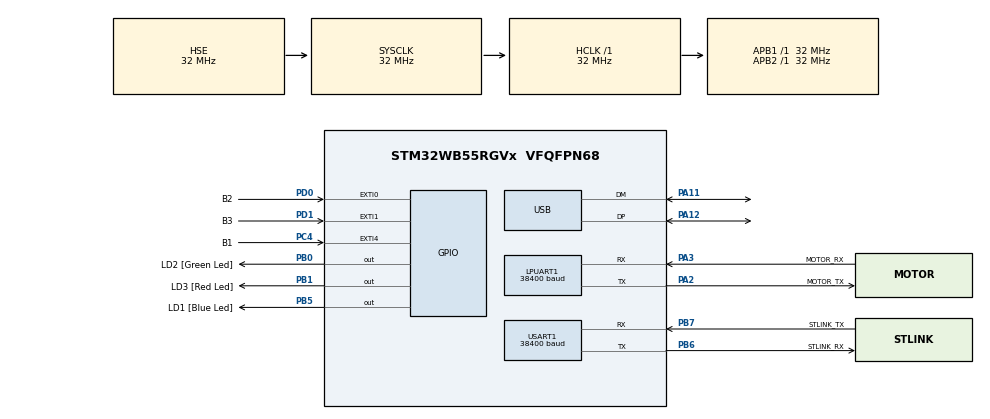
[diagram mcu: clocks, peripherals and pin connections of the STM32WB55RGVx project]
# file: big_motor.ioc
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LPUART1.BaudRate=38400
Mcu.Family=STM32WB
Mcu.Name=STM32WB55RGVx
Mcu.Package=VFQFPN68
NVIC.EXTI0_IRQn=true\:0\:0\:false\:false\:true\:true\:true\:true
NVIC.EXTI1_IRQn=true\:0\:0\:false\:false\:true\:true\:true\:true
NVIC.EXTI4_IRQn=true\:0\:0\:false\:false\:true\:true\:true\:true
NVIC.LPUART1_IRQn=true\:0\:0\:false\:false\:true\:true\:true\:true
NVIC.PriorityGroup=NVIC_PRIORITYGROUP_4
NVIC.USART1_IRQn=true\:0\:0\:false\:false\:true\:true\:true\:true
OSC_IN.Mode=HSE-External-Oscillator
OSC_IN.Signal=RCC_OSC_IN
OSC_OUT.Mode=HSE-External-Oscillator
OSC_OUT.Signal=RCC_OSC_OUT
PA11.Mode=Device
PA11.Signal=USB_DM
PA12.Mode=Device
PA12.Signal=USB_DP
PA13.GPIO_Label=JTMS
PA13.Mode=Trace_Asynchronous_SW
PA13.Signal=SYS_JTMS-SWDIO
PA14.GPIO_Label=JTCK
PA14.Mode=Trace_Asynchronous_SW
PA14.Signal=SYS_JTCK-SWCLK
PA2.GPIO_Label=MOTOR_TX
PA2.Mode=Asynchronous
PA2.Signal=LPUART1_TX
PA3.GPIO_Label=MOTOR_RX
PA3.Mode=Asynchronous
PA3.Signal=LPUART1_RX
PB0.GPIO_Label=LD2 [Green Led]
PB0.Signal=GPIO_Output
PB1.GPIO_Label=LD3 [Red Led]
PB1.Signal=GPIO_Output
PB3.GPIO_Label=JTDO
PB3.Mode=Trace_Asynchronous_SW
PB3.Signal=SYS_JTDO-SWO
PB5.GPIO_Label=LD1 [Blue Led]
PB5.Signal=GPIO_Output
PB6.GPIO_Label=STLINK_RX
PB6.GPIO_PuPd=GPIO_PULLUP
PB6.Mode=Asynchronous
PB6.Signal=USART1_TX
PB7.GPIO_Label=STLINK_TX
PB7.GPIO_PuPd=GPIO_PULLUP
PB7.Mode=Asynchronous
PB7.Signal=USART1_RX
PC13.Mode=SYS_WakeUp1
PC13.Signal=SYS_WKUP2
PC14-OSC32_IN.Mode=LSE-External-Oscillator
PC14-OSC32_IN.Signal=RCC_OSC32_IN
PC15-OSC32_OUT.Mode=LSE-External-Oscillator
PC15-OSC32_OUT.Signal=RCC_OSC32_OUT
PC4.GPIO_Label=B1
PC4.GPIO_PuPd=GPIO_PULLUP
PC4.Signal=GPXTI4
PD0.GPIO_Label=B2
PD0.GPIO_PuPd=GPIO_PULLUP
PD0.Signal=GPXTI0
PD1.GPIO_Label=B3
PD1.GPIO_PuPd=GPIO_PULLUP
PD1.Signal=GPXTI1
ProjectManager.HeapSize=0x200
ProjectManager.StackSize=0x400
ProjectManager.TargetToolchain=STM32CubeIDE
RCC.ADCFreq_Value=48000000
RCC.AHBFreq_Value=32000000
RCC.APB1Freq_Value=32000000
RCC.APB1TimFreq_Value=32000000
RCC.APB2Freq_Value=32000000
RCC.APB2TimFreq_Value=32000000
RCC.APB3Freq_Value=16000000
RCC.CortexFreq_Value=32000000
RCC.HCLKFreq_Value=32000000
RCC.HSE_VALUE=32000000
RCC.HSI48_VALUE=48000000
RCC.HSI_VALUE=16000000
RCC.LSE_Drive_Capability=RCC_LSEDRIVE_LOW
RCC.PLLN=32
RCC.PLLSAI1N=24
RCC.SMPSCLockSelectionVirtual=RCC_SMPSCLKSOURCE_HSI
RCC.SMPSCLockSelectionVirtualVirtual=RCC_SMPSCLKSOURCE_HSI
RCC.SMPSDivider=1
RCC.SYSCLKFreq_VALUE=32000000
RCC.SYSCLKSource=RCC_SYSCLKSOURCE_HSE
RCC.USBFreq_Value=48000000
RCC.VCOOutputFreq_Value=128000000
USART1.BaudRate=38400
USART1.VirtualMode-Asynchronous=VM_ASYNC
USART1.WordLength=WORDLENGTH_8B
VP_MEMORYMAP_VS_MEMORYMAP.Mode=CurAppReg
board=NUCLEO-WB55RG

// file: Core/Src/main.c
/* USER CODE BEGIN Header */
/**
  ******************************************************************************
  * @file           : main.c
  * @brief          : Main program body
  ******************************************************************************
  * @attention
  *
  * Copyright (c) 2024 STMicroelectronics.
  * All rights reserved.
  *
  * This software is licensed under terms that can be found in the LICENSE file
  * in the root directory of this software component.
  * If no LICENSE file comes with this software, it is provided AS-IS.
  *
  ******************************************************************************
  */
/* USER CODE END Header */
#include "main.h"

/* USER CODE BEGIN Includes */
#include "communication_utilities.h"
#include "utilities.h"
/* USER CODE END Includes */

UART_HandleTypeDef hlpuart1;
UART_HandleTypeDef huart1;

PCD_HandleTypeDef hpcd_USB_FS;

/* USER CODE BEGIN PV */
uint32_t state;
uint32_t state_changed;
/* USER CODE END PV */

void SystemClock_Config(void);
void PeriphCommonClock_Config(void);
static void MX_GPIO_Init(void);
static void MX_LPUART1_UART_Init(void);
static void MX_USART1_UART_Init(void);
static void MX_USB_PCD_Init(void);

int main(void)
{

  /* MCU Configuration--------------------------------------------------------*/

  /* Reset of all peripherals, Initializes the Flash interface and the Systick. */
  HAL_Init();

  /* Configure the system clock */
  SystemClock_Config();

/* Configure the peripherals common clocks */
  PeriphCommonClock_Config();

  /* Initialize all configured peripherals */
  MX_GPIO_Init();
  MX_LPUART1_UART_Init();
  MX_USART1_UART_Init();
  MX_USB_PCD_Init();
  /* USER CODE BEGIN 2 */
  state = 0;
  state_changed = 0;

  Digital_Mode();
  HAL_Delay(100);
  Set_Clockwise_Direction();
  HAL_Delay(100);
  Coast();
  HAL_Delay(100);
  /* USER CODE END 2 */

  /* Infinite loop */
  /* USER CODE BEGIN WHILE */
  while (1)
  {
	  //uint8_t test[] = {'a'};
	 // HAL_UART_Transmit(&huart1, test, sizeof(test), 10);
	  if (state == 0){
		  if (state_changed == 1)
		  {
			  //uint16_t test = Verify_Test();
			  Set_Digital_Speed(400);
			  HAL_Delay(100);
			  Start_Motor();
			  HAL_Delay(100);
			  state_changed = 0;
		  }
		  Blue_On();
		  Green_Off();
		  Red_Off();
	  }
	  else if (state == 1){
		  if (state_changed == 1)
		  {
			  Coast();
			  state_changed = 0;
		  }
		  Blue_Off();
		  Green_On();
		  Red_Off();
	  }
	  else if (state == 2){
		  if (state_changed == 1)
		  {
			  uint16_t test = Verify_Current_Speed();
			  HAL_Delay(100);
			  state_changed = 0;
		  }

		  Blue_Off();
		  Green_Off();
		  Red_On();
	  }
	  else{
		  state = 0;
	  }
    /* USER CODE END WHILE */

  }
}

void SystemClock_Config(void)
{
  RCC_OscInitTypeDef RCC_OscInitStruct = {0};
  RCC_ClkInitTypeDef RCC_ClkInitStruct = {0};

  /** Macro to configure the PLL multiplication factor
  */
  __HAL_RCC_PLL_PLLM_CONFIG(RCC_PLLM_DIV1);

  /** Macro to configure the PLL clock source
  */
  __HAL_RCC_PLL_PLLSOURCE_CONFIG(RCC_PLLSOURCE_MSI);

  /** Configure LSE Drive Capability
  */
  HAL_PWR_EnableBkUpAccess();
  __HAL_RCC_LSEDRIVE_CONFIG(RCC_LSEDRIVE_LOW);

  /** Configure the main internal regulator output voltage
  */
  __HAL_PWR_VOLTAGESCALING_CONFIG(PWR_REGULATOR_VOLTAGE_SCALE1);

  /** Initializes the RCC Oscillators according to the specified parameters
  * in the RCC_OscInitTypeDef structure.
  */
  RCC_OscInitStruct.OscillatorType = RCC_OSCILLATORTYPE_HSI|RCC_OSCILLATORTYPE_HSE
                              |RCC_OSCILLATORTYPE_LSE|RCC_OSCILLATORTYPE_MSI;
  RCC_OscInitStruct.HSEState = RCC_HSE_ON;
  RCC_OscInitStruct.LSEState = RCC_LSE_ON;
  RCC_OscInitStruct.HSIState = RCC_HSI_ON;
  RCC_OscInitStruct.MSIState = RCC_MSI_ON;
  RCC_OscInitStruct.HSICalibrationValue = RCC_HSICALIBRATION_DEFAULT;
  RCC_OscInitStruct.MSICalibrationValue = RCC_MSICALIBRATION_DEFAULT;
  RCC_OscInitStruct.MSIClockRange = RCC_MSIRANGE_6;
  RCC_OscInitStruct.PLL.PLLState = RCC_PLL_NONE;
  if (HAL_RCC_OscConfig(&RCC_OscInitStruct) != HAL_OK)
  {
    Error_Handler();
  }

  /** Configure the SYSCLKSource, HCLK, PCLK1 and PCLK2 clocks dividers
  */
  RCC_ClkInitStruct.ClockType = RCC_CLOCKTYPE_HCLK4|RCC_CLOCKTYPE_HCLK2
                              |RCC_CLOCKTYPE_HCLK|RCC_CLOCKTYPE_SYSCLK
                              |RCC_CLOCKTYPE_PCLK1|RCC_CLOCKTYPE_PCLK2;
  RCC_ClkInitStruct.SYSCLKSource = RCC_SYSCLKSOURCE_HSE;
  RCC_ClkInitStruct.AHBCLKDivider = RCC_SYSCLK_DIV1;
  RCC_ClkInitStruct.APB1CLKDivider = RCC_HCLK_DIV1;
  RCC_ClkInitStruct.APB2CLKDivider = RCC_HCLK_DIV1;
  RCC_ClkInitStruct.AHBCLK2Divider = RCC_SYSCLK_DIV1;
  RCC_ClkInitStruct.AHBCLK4Divider = RCC_SYSCLK_DIV1;

  if (HAL_RCC_ClockConfig(&RCC_ClkInitStruct, FLASH_LATENCY_1) != HAL_OK)
  {
    Error_Handler();
  }

  /** Enable MSI Auto calibration
  */
  HAL_RCCEx_EnableMSIPLLMode();
}

void PeriphCommonClock_Config(void)
{
  RCC_PeriphCLKInitTypeDef PeriphClkInitStruct = {0};

  /** Initializes the peripherals clock
  */
  PeriphClkInitStruct.PeriphClockSelection = RCC_PERIPHCLK_SMPS;
  PeriphClkInitStruct.SmpsClockSelection = RCC_SMPSCLKSOURCE_HSI;
  PeriphClkInitStruct.SmpsDivSelection = RCC_SMPSCLKDIV_RANGE0;

  if (HAL_RCCEx_PeriphCLKConfig(&PeriphClkInitStruct) != HAL_OK)
  {
    Error_Handler();
  }
}

static void MX_LPUART1_UART_Init(void)
{

  hlpuart1.Instance = LPUART1;
  hlpuart1.Init.BaudRate = 38400;
  hlpuart1.Init.WordLength = UART_WORDLENGTH_8B;
  hlpuart1.Init.StopBits = UART_STOPBITS_1;
  hlpuart1.Init.Parity = UART_PARITY_NONE;
  hlpuart1.Init.Mode = UART_MODE_TX_RX;
  hlpuart1.Init.HwFlowCtl = UART_HWCONTROL_NONE;
  hlpuart1.Init.OneBitSampling = UART_ONE_BIT_SAMPLE_DISABLE;
  hlpuart1.Init.ClockPrescaler = UART_PRESCALER_DIV1;
  hlpuart1.AdvancedInit.AdvFeatureInit = UART_ADVFEATURE_NO_INIT;
  hlpuart1.FifoMode = UART_FIFOMODE_DISABLE;
  if (HAL_UART_Init(&hlpuart1) != HAL_OK)
  {
    Error_Handler();
  }
  if (HAL_UARTEx_SetTxFifoThreshold(&hlpuart1, UART_TXFIFO_THRESHOLD_1_8) != HAL_OK)
  {
    Error_Handler();
  }
  if (HAL_UARTEx_SetRxFifoThreshold(&hlpuart1, UART_RXFIFO_THRESHOLD_1_8) != HAL_OK)
  {
    Error_Handler();
  }
  if (HAL_UARTEx_DisableFifoMode(&hlpuart1) != HAL_OK)
  {
    Error_Handler();
  }

}

static void MX_USART1_UART_Init(void)
{

  huart1.Instance = USART1;
  huart1.Init.BaudRate = 38400;
  huart1.Init.WordLength = UART_WORDLENGTH_8B;
  huart1.Init.StopBits = UART_STOPBITS_1;
  huart1.Init.Parity = UART_PARITY_NONE;
  huart1.Init.Mode = UART_MODE_TX_RX;
  huart1.Init.HwFlowCtl = UART_HWCONTROL_NONE;
  huart1.Init.OverSampling = UART_OVERSAMPLING_16;
  huart1.Init.OneBitSampling = UART_ONE_BIT_SAMPLE_DISABLE;
  huart1.Init.ClockPrescaler = UART_PRESCALER_DIV1;
  huart1.AdvancedInit.AdvFeatureInit = UART_ADVFEATURE_NO_INIT;
  if (HAL_UART_Init(&huart1) != HAL_OK)
  {
    Error_Handler();
  }
  if (HAL_UARTEx_SetTxFifoThreshold(&huart1, UART_TXFIFO_THRESHOLD_1_8) != HAL_OK)
  {
    Error_Handler();
  }
  if (HAL_UARTEx_SetRxFifoThreshold(&huart1, UART_RXFIFO_THRESHOLD_1_8) != HAL_OK)
  {
    Error_Handler();
  }
  if (HAL_UARTEx_DisableFifoMode(&huart1) != HAL_OK)
  {
    Error_Handler();
  }

}

static void MX_USB_PCD_Init(void)
{

  hpcd_USB_FS.Instance = USB;
  hpcd_USB_FS.Init.dev_endpoints = 8;
  hpcd_USB_FS.Init.speed = PCD_SPEED_FULL;
  hpcd_USB_FS.Init.phy_itface = PCD_PHY_EMBEDDED;
  hpcd_USB_FS.Init.Sof_enable = DISABLE;
  hpcd_USB_FS.Init.low_power_enable = DISABLE;
  hpcd_USB_FS.Init.lpm_enable = DISABLE;
  hpcd_USB_FS.Init.battery_charging_enable = DISABLE;
  if (HAL_PCD_Init(&hpcd_USB_FS) != HAL_OK)
  {
    Error_Handler();
  }

}

static void MX_GPIO_Init(void)
{
  GPIO_InitTypeDef GPIO_InitStruct = {0};

  /* GPIO Ports Clock Enable */
  __HAL_RCC_GPIOC_CLK_ENABLE();
  __HAL_RCC_GPIOA_CLK_ENABLE();
  __HAL_RCC_GPIOB_CLK_ENABLE();
  __HAL_RCC_GPIOD_CLK_ENABLE();

  /*Configure GPIO pin Output Level */
  HAL_GPIO_WritePin(GPIOB, LD2_Pin|LD3_Pin|LD1_Pin, GPIO_PIN_RESET);

  /*Configure GPIO pin : B1_Pin */
  GPIO_InitStruct.Pin = B1_Pin;
  GPIO_InitStruct.Mode = GPIO_MODE_IT_RISING;
  GPIO_InitStruct.Pull = GPIO_PULLUP;
  HAL_GPIO_Init(B1_GPIO_Port, &GPIO_InitStruct);

  /*Configure GPIO pins : LD2_Pin LD3_Pin LD1_Pin */
  GPIO_InitStruct.Pin = LD2_Pin|LD3_Pin|LD1_Pin;
  GPIO_InitStruct.Mode = GPIO_MODE_OUTPUT_PP;
  GPIO_InitStruct.Pull = GPIO_NOPULL;
  GPIO_InitStruct.Speed = GPIO_SPEED_FREQ_LOW;
  HAL_GPIO_Init(GPIOB, &GPIO_InitStruct);

  /*Configure GPIO pins : B2_Pin B3_Pin */
  GPIO_InitStruct.Pin = B2_Pin|B3_Pin;
  GPIO_InitStruct.Mode = GPIO_MODE_IT_RISING;
  GPIO_InitStruct.Pull = GPIO_PULLUP;
  HAL_GPIO_Init(GPIOD, &GPIO_InitStruct);

  /* EXTI interrupt init*/
  HAL_NVIC_SetPriority(EXTI0_IRQn, 0, 0);
  HAL_NVIC_EnableIRQ(EXTI0_IRQn);

  HAL_NVIC_SetPriority(EXTI1_IRQn, 0, 0);
  HAL_NVIC_EnableIRQ(EXTI1_IRQn);

  HAL_NVIC_SetPriority(EXTI4_IRQn, 0, 0);
  HAL_NVIC_EnableIRQ(EXTI4_IRQn);

}

/* USER CODE BEGIN 4 */
void Motor_Transmit(char tx_buff[], uint8_t size)
{
	//HAL_UART_Transmit(&hlpuart1, (uint8_t*)tx_buff, size, 10);
	HAL_UART_Transmit(&huart1, (uint8_t*)tx_buff, size, 10);
}

HAL_StatusTypeDef Motor_Receive(uint8_t rx_buff[])
{
	//return HAL_UART_Receive(&hlpuart1, rx_buff, size, 10);
	//return HAL_UART_Receive(&huart1, rx_buff, size, 10);

	uint8_t rx_char[1];
	uint8_t i = 0;
	HAL_StatusTypeDef status = HAL_UART_Receive(&huart1, rx_char, 1, 10000);
	if (status != HAL_OK)
	{
		return 0;
	}
	rx_buff[i] = rx_char[0];
	i++;
	while (rx_char[0] != '\r')
	{
		status = HAL_UART_Receive(&huart1, rx_char, 1, 10000);
		if (status != HAL_OK)
		{
			return 0;
		}
		rx_buff[i] = rx_char[0];
		i++;
	}
	return i;
}

void HAL_GPIO_EXTI_Callback(uint16_t GPIO_PIN)
{
	if(GPIO_PIN == B1_Pin){state = 0;}      //10
	else if(GPIO_PIN == B2_Pin){state = 1;} //1
	else if(GPIO_PIN == B3_Pin){state = 2;} //2
	state_changed = 1;
}
/* USER CODE END 4 */

void Error_Handler(void)
{
  __disable_irq();
  while (1)
  {
  }
}
